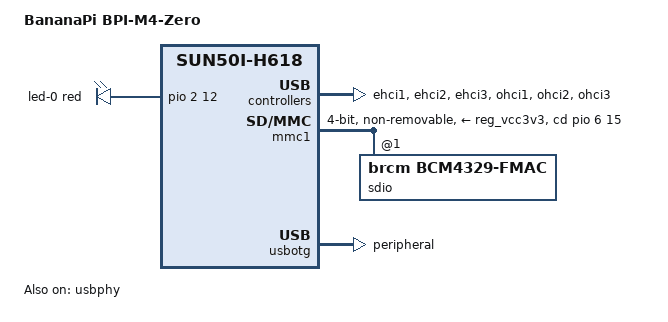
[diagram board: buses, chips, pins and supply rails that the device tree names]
// SPDX-License-Identifier: (GPL-2.0+ OR MIT)
/*
 * Copyright (c) 2025 Patrick Yavitz <pyavitz@armbian.com>
 *
 * Modified for Marvin: dropped the aliases for removed peripherals, the AC300
 * clocking via pwm (not in mainline) and the internal Ethernet PHY
 * calibration — our configuration has no wired port.
 */

/dts-v1/;

#include "sun50i-h618-bananapi-m4.dtsi"

/ {
	model = "BananaPi BPI-M4-Zero";
	compatible = "sinovoip,bpi-m4-zero", "allwinner,sun50i-h618";

	leds {
		compatible = "gpio-leds";

		led-0 {
			color = <LED_COLOR_ID_RED>;
			function = LED_FUNCTION_STATUS;
			gpios = <&pio 2 12 GPIO_ACTIVE_HIGH>;	/* PC12 */
			linux,default-trigger = "heartbeat";
		};
	};
};

/*
 * USB hosts. A comment by the original DTS author says ehci1 carries the
 * onboard RTL8821CU Wi-Fi — i.e. the built-in radio sits on USB, not on SDIO.
 * That contradicts both our documentation (AIC8800 over SDIO) and the mmc1
 * node below. To be settled by the first boot log, see docs/bring-up.md §2.
 */
&ehci1 {
	status = "okay";
};

&ehci2 {
	status = "okay";
};

&ehci3 {
	status = "okay";
};

&ohci1 {
	status = "okay";
};

&ohci2 {
	status = "okay";
};

&ohci3 {
	status = "okay";
};

/*
 * SDIO: the onboard BCM43455 radio (measured on the board, revision v2 —
 * docs/hardware-inventory.md in marvin-research). Node enabled.
 *
 * compatible stays "brcm,bcm4329-fmac": that is the generic brcmfmac binding
 * for all Broadcom SDIO chips — the driver detects the actual model itself and
 * requests firmware accordingly.
 */
&mmc1 {
	status = "okay";
	bus-width = <4>;
	max-frequency = <100000000>;

	non-removable;
	disable-wp;

	/* The radio firmware requires power to be kept across suspend */
	keep-power-in-suspend;

	mmc-pwrseq = <&wifi_pwrseq>;

	cd-gpios = <&pio 6 15 GPIO_ACTIVE_HIGH>;	/* PG15 */
	vmmc-supply = <&reg_vcc3v3>;

	sdio: wifi@1 {
		reg = <1>;
		compatible = "brcm,bcm4329-fmac";

		/*
		 * Country code translation for the firmware.
		 *
		 * The NVRAM shipped for this board sets ccode=0 — no country at
		 * all — and the firmware then reports country 99 and rejects every
		 * 5 GHz channel, measured as
		 *
		 *   brcmf_cfg80211_start_ap: Set Channel failed: chspec=53284, -52
		 *
		 * even though BCM43455 and the board are both dual-band. The band
		 * is closed by configuration, not by hardware.
		 *
		 * brcmfmac forwards a regulatory hint to the firmware only after
		 * translating the ISO code through this map. The mapping is trivial
		 * (ISO code, revision 0), which is what vendor device trees for this
		 * chip carry; extend the list as other regions are needed.
		 *
		 * Hypothesis until confirmed on hardware: with a country the firmware
		 * accepts, 5 GHz channels appear and hostapd can use them.
		 */
		brcm,ccode-map = "RU-RU-0", "US-US-0", "DE-DE-0", "GB-GB-0",
				 "FR-FR-0", "PL-PL-0", "KZ-KZ-0", "TR-TR-0";
	};
};

&usbotg {
	status = "okay";
	dr_mode = "peripheral";
};

&usbphy {
	status = "okay";
	usb1_vbus-supply = <&reg_usb_vbus>;
};
